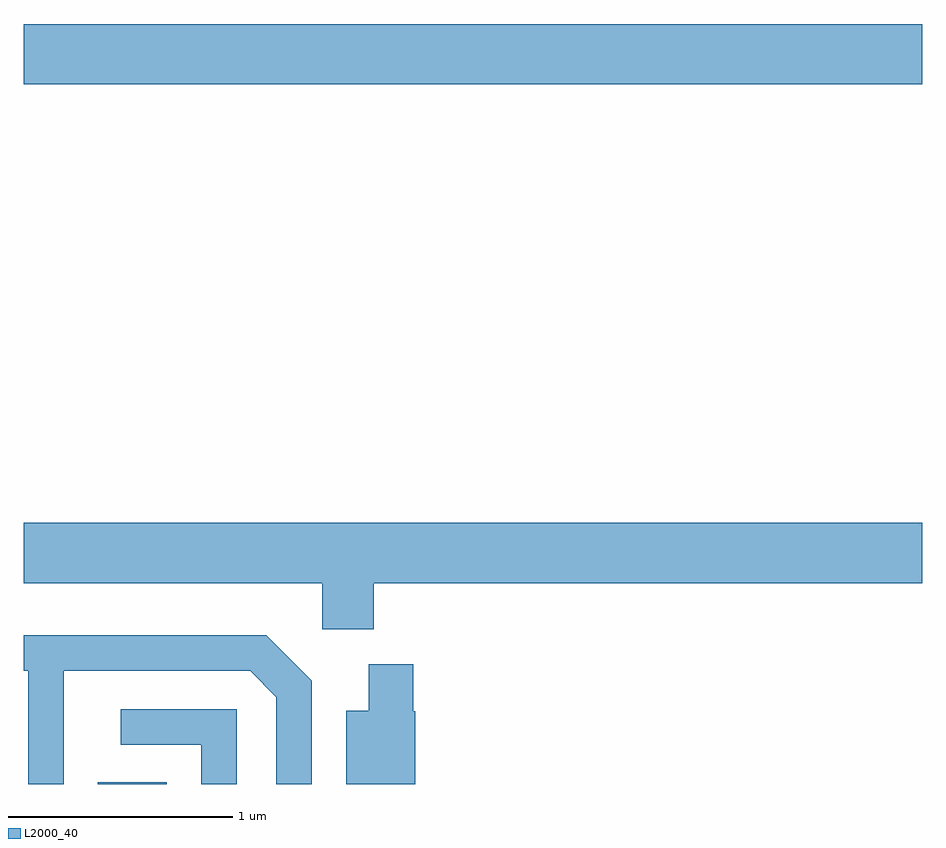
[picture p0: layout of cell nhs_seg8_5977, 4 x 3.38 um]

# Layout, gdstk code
import gdstk
lib = gdstk.Library(unit=1e-6, precision=1e-09)
def R(c, l, rs):  # rectangles x0, y0, x1, y1
    for r in rs: c.add(gdstk.rectangle(r[:2], r[2:], *l))
def P(c, l, *ps):  # polygons
    for p in ps: c.add(gdstk.Polygon(p, *l))
L2000_40 = (2000, 40)

nhs_seg8_5977 = lib.new_cell('nhs_seg8_5977')
R(nhs_seg8_5977, L2000_40, [(363.941,1904.342,364.249,1904.349), (363.611,1907.456,367.611,1907.724)])
P(nhs_seg8_5977, L2000_40, [(365.169,1905.236),(367.611,1905.236),(367.611,1905.504),(363.611,1905.504),(363.611,1905.236),(364.941,1905.236),(364.941,1905.031),(365.169,1905.031)],
  [(363.789,1904.846),(364.619,1904.846),(364.736,1904.729),(364.736,1904.342),(364.894,1904.342),(364.894,1904.802),(364.692,1905.004),(363.611,1905.004),(363.611,1904.846),(363.631,1904.846),(363.631,1904.342),(363.789,1904.342)],
  [(365.354,1904.665),(365.344,1904.665),(365.344,1904.874),(365.146,1904.874),(365.146,1904.669),(365.046,1904.669),(365.046,1904.342),(365.354,1904.342)],
  [(364.559,1904.674),(364.043,1904.674),(364.043,1904.516),(364.401,1904.516),(364.401,1904.342),(364.559,1904.342)])

lib.write_gds('nhs_seg8_5977.gds')
